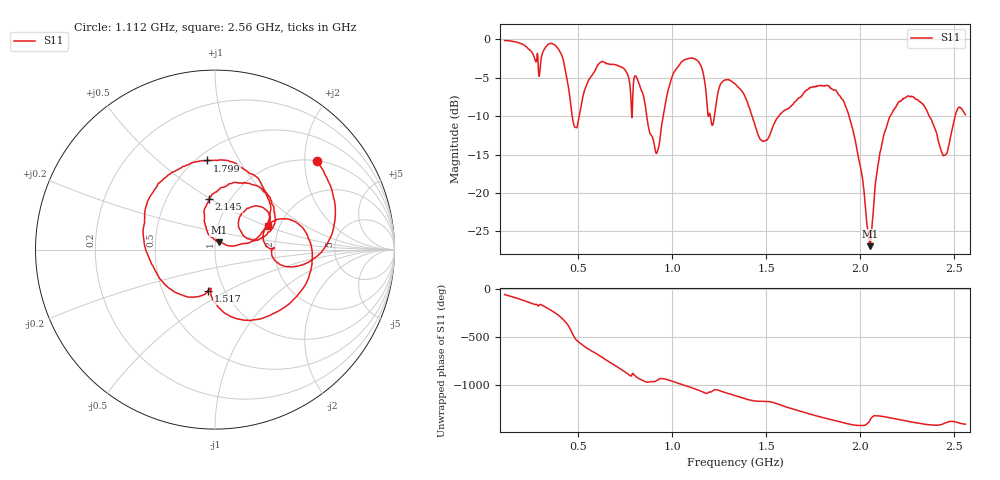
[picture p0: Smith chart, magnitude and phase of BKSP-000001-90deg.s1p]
# MHz S MA R 50
!  freq  S11
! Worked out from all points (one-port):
!   1000 points, 108 MHz to 2.56 GHz, reference 50 ohm
!   lowest |S11| = -26.9 dB at 2.052 GHz (marker M1), VSWR 1.09, Z = 51.9 + j4.16 ohm
!   |S11| at or under -10 dB: 1.425 GHz to 1.567 GHz (142.7 MHz wide, 9.54 % of centre); 1.941 GHz to 2.159 GHz (218.4 MHz wide, 10.7 % of centre); 2.367 GHz to 2.505 GHz (138.3 MHz wide, 5.68 % of centre)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
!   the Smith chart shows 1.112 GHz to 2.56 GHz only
!   S11 on the Smith chart (normalised r, x): 1.112 GHz: 1.01, +2.29; 1.517 GHz: 0.83, -0.41; 1.799 GHz: 0.56, +0.74; 2.145 GHz: 0.80, +0.49; 2.56 GHz: 1.74, +0.52
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108  0.9827 -55.9
196.3604  0.9377 -109.3
328.9009  0.898 169.4
377.99  0.9132 109.8
414.8068  0.7718 52.1
458.987  0.382 -65.3
515.4394  0.3688 146.0
576.8008  0.5943 65.9
635.7077  0.7113 -6.9
684.7968  0.6861 -66.2
721.6136  0.6654 -112.5
758.4304  0.6058 -160.9
829.6096  0.488 135.1
917.97  0.1815 124.3
1028.42  0.6574 95.1
1111.872  0.7511 41.1
1173.233  0.5274 -7.5
1210.05  0.2802 6.4
1335.227  0.5121 -36.3
1516.857  0.2352 -99.5
1642.034  0.3771 -176.6
1799.119  0.4985 95.0
1948.841  0.2911 21.5
2051.928  0.045 62.6
2145.197  0.2823 97.0
2255.648  0.4283 54.3
2447.095  0.1754 32.0
2560  0.3235 24.2
